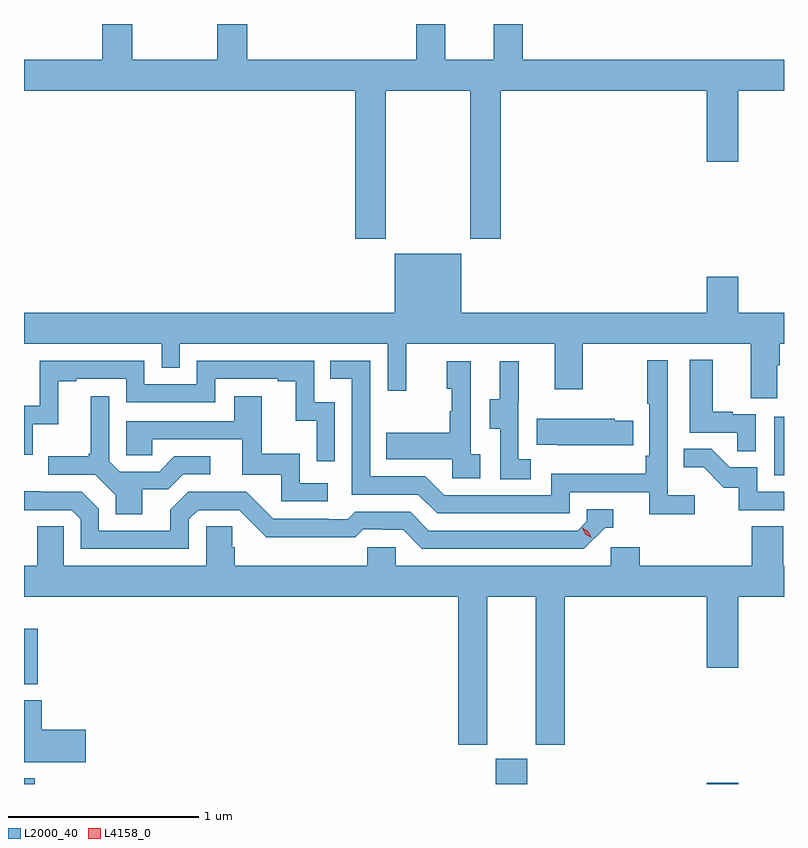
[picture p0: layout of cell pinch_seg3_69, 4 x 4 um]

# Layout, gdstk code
import gdstk
lib = gdstk.Library(unit=1e-6, precision=1e-09)
def R(c, l, rs):  # rectangles x0, y0, x1, y1
    for r in rs: c.add(gdstk.rectangle(r[:2], r[2:], *l))
def P(c, l, *ps):  # polygons
    for p in ps: c.add(gdstk.Polygon(p, *l))
L2000_40 = (2000, 40)
L4158_0 = (4158, 0)

pinch_seg3_69 = lib.new_cell('pinch_seg3_69')
R(pinch_seg3_69, L2000_40, [(1036.538,731.899,1036.595,731.929), (1039.022,731.899,1039.186,732.033), (1040.132,731.899,1040.296,731.905), (1036.538,732.425,1036.61,732.715), (1040.486,733.524,1040.538,733.831)])
P(pinch_seg3_69, L2000_40, [(1038.441,735.548),(1038.886,735.548),(1038.886,734.769),(1039.046,734.769),(1039.046,735.548),(1040.132,735.548),(1040.132,735.174),(1040.296,735.174),(1040.296,735.548),(1040.538,735.548),(1040.538,735.712),(1039.163,735.712),(1039.163,735.899),(1039.01,735.899),(1039.01,735.712),(1038.754,735.712),(1038.754,735.899),(1038.602,735.899),(1038.602,735.712),(1037.714,735.712),(1037.714,735.899),(1037.554,735.899),(1037.554,735.712),(1037.109,735.712),(1037.109,735.899),(1036.949,735.899),(1036.949,735.712),(1036.538,735.712),(1036.538,735.548),(1038.281,735.548),(1038.281,734.769),(1038.441,734.769)],
  [(1040.503,734.104),(1040.516,734.104),(1040.516,734.216),(1040.538,734.216),(1040.538,734.38),(1040.296,734.38),(1040.296,734.569),(1040.132,734.569),(1040.132,734.38),(1038.838,734.38),(1038.838,734.689),(1038.488,734.689),(1038.488,734.38),(1036.538,734.38),(1036.538,734.216),(1037.262,734.216),(1037.262,734.089),(1037.358,734.089),(1037.358,734.216),(1038.453,734.216),(1038.453,733.968),(1038.551,733.968),(1038.551,734.216),(1039.331,734.216),(1039.331,733.977),(1039.478,733.977),(1039.478,734.216),(1040.363,734.216),(1040.363,733.93),(1040.503,733.93)],
  [(1040.388,733.845),(1040.267,733.845),(1040.267,733.858),(1040.164,733.858),(1040.164,734.131),(1040.042,734.131),(1040.042,733.749),(1040.293,733.749),(1040.293,733.651),(1040.388,733.651)],
  [(1040.068,733.42),(1039.926,733.42),(1039.926,734.128),(1039.818,734.128),(1039.818,733.9),(1039.83,733.9),(1039.83,733.627),(1039.81,733.627),(1039.81,733.531),(1039.314,733.531),(1039.314,733.419),(1038.75,733.419),(1038.651,733.518),(1038.36,733.518),(1038.36,734.127),(1038.151,734.127),(1038.151,734.031),(1038.264,734.031),(1038.264,733.422),(1038.614,733.422),(1038.713,733.323),(1039.41,733.323),(1039.41,733.434),(1039.829,733.434),(1039.829,733.318),(1040.068,733.318)],
  [(1038.174,733.908),(1038.066,733.908),(1038.066,734.127),(1037.448,734.127),(1037.448,734.004),(1037.172,734.004),(1037.172,734.127),(1036.62,734.127),(1036.62,733.891),(1036.538,733.891),(1036.538,733.632),(1036.584,733.632),(1036.584,733.793),(1036.717,733.793),(1036.717,734.019),(1036.813,734.019),(1036.813,734.031),(1037.076,734.031),(1037.076,733.908),(1037.544,733.908),(1037.544,734.031),(1037.873,734.031),(1037.873,734.019),(1037.969,734.019),(1037.969,733.811),(1038.078,733.811),(1038.078,733.599),(1038.174,733.599)],
  [(1038.94,733.634),(1038.888,733.634),(1038.888,734.125),(1038.764,734.125),(1038.764,733.98),(1038.79,733.98),(1038.79,733.862),(1038.78,733.862),(1038.78,733.747),(1038.445,733.747),(1038.445,733.607),(1038.792,733.607),(1038.792,733.509),(1038.94,733.509)],
  [(1039.204,733.607),(1039.14,733.607),(1039.14,733.911),(1039.142,733.911),(1039.142,734.125),(1039.043,734.125),(1039.043,733.923),(1038.989,733.923),(1038.989,733.768),(1039.044,733.768),(1039.044,733.504),(1039.204,733.504)],
  [(1037.161,733.45),(1037.296,733.45),(1037.376,733.53),(1037.518,733.53),(1037.518,733.623),(1037.33,733.623),(1037.249,733.542),(1037.043,733.542),(1036.986,733.599),(1036.986,733.939),(1036.889,733.939),(1036.889,733.636),(1036.878,733.636),(1036.878,733.624),(1036.665,733.624),(1036.665,733.527),(1036.914,733.527),(1037.021,733.42),(1037.021,733.318),(1037.161,733.318)],
  [(1038.136,733.482),(1037.988,733.482),(1037.988,733.636),(1037.789,733.636),(1037.789,733.939),(1037.645,733.939),(1037.645,733.809),(1037.076,733.809),(1037.076,733.629),(1037.213,733.629),(1037.213,733.713),(1037.687,733.713),(1037.687,733.527),(1037.892,733.527),(1037.892,733.386),(1038.136,733.386)],
  [(1039.745,733.812),(1039.647,733.812),(1039.647,733.822),(1039.237,733.822),(1039.237,733.685),(1039.345,733.685),(1039.345,733.682),(1039.745,733.682)],
  [(1040.538,733.437),(1040.397,733.437),(1040.397,733.566),(1040.252,733.566),(1040.154,733.664),(1040.011,733.664),(1040.011,733.565),(1040.115,733.565),(1040.222,733.458),(1040.299,733.458),(1040.299,733.341),(1040.538,733.341)],
  [(1037.406,733.293),(1037.454,733.341),(1037.67,733.341),(1037.812,733.199),(1038.048,733.199),(1038.048,733.197),(1038.281,733.197),(1038.323,733.239),(1038.426,733.239),(1038.426,733.236),(1038.533,733.236),(1038.632,733.137),(1039.485,733.137),(1039.596,733.248),(1039.639,733.248),(1039.639,733.344),(1039.5,733.344),(1039.5,733.281),(1039.452,733.233),(1038.669,733.233),(1038.57,733.332),(1038.281,733.332),(1038.242,733.293),(1038.143,733.293),(1038.143,733.296),(1037.85,733.296),(1037.709,733.437),(1037.403,733.437),(1037.309,733.343),(1037.309,733.233),(1036.932,733.233),(1036.932,733.347),(1036.842,733.437),(1036.626,733.437),(1036.626,733.439),(1036.538,733.439),(1036.538,733.341),(1036.788,733.341),(1036.836,733.293),(1036.836,733.137),(1037.406,733.137)],
  [(1038.976,732.884),(1039.232,732.884),(1039.232,732.105),(1039.385,732.105),(1039.385,732.884),(1040.132,732.884),(1040.132,732.51),(1040.296,732.51),(1040.296,732.884),(1040.538,732.884),(1040.538,733.048),(1040.534,733.048),(1040.534,733.256),(1040.369,733.256),(1040.369,733.048),(1039.778,733.048),(1039.778,733.146),(1039.626,733.146),(1039.626,733.048),(1038.495,733.048),(1038.495,733.146),(1038.345,733.146),(1038.345,733.048),(1037.648,733.048),(1037.648,733.146),(1037.633,733.146),(1037.633,733.256),(1037.496,733.256),(1037.496,733.048),(1036.746,733.048),(1036.746,733.256),(1036.607,733.256),(1036.607,733.048),(1036.538,733.048),(1036.538,732.884),(1038.824,732.884),(1038.824,732.105),(1038.976,732.105)],
  [(1036.864,732.185),(1036.631,732.185),(1036.631,732.34),(1036.538,732.34),(1036.538,732.014),(1036.864,732.014)])
P(pinch_seg3_69, L4158_0, [(1039.523,733.195),(1039.492,733.214),(1039.476,733.247),(1039.476,733.247),(1039.476,733.247),(1039.507,733.228),(1039.524,733.195),(1039.524,733.195)])

lib.write_gds('pinch_seg3_69.gds')
